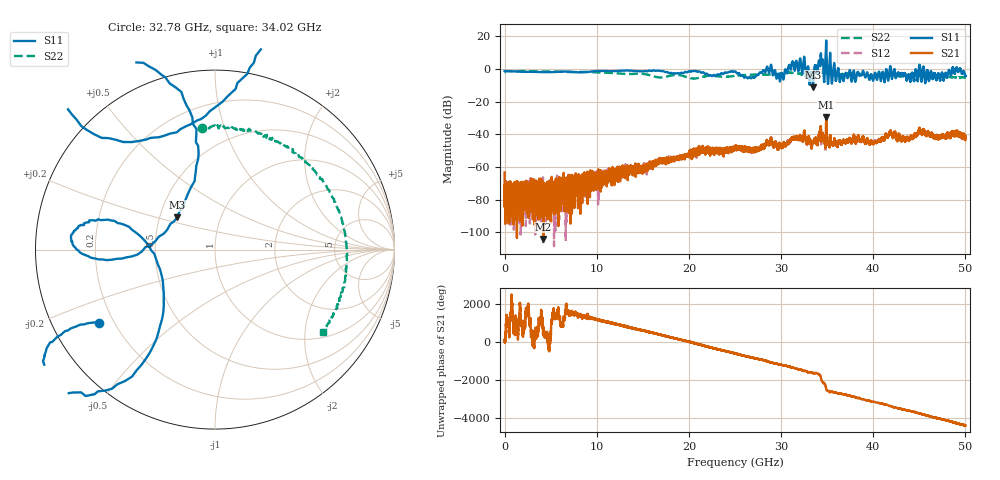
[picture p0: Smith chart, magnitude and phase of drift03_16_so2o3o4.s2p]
!Created with skrf (http://scikit-rf.org).
# Hz S RI R 50.0
!freq ReS11 ImS11 ReS21 ImS21 ReS12 ImS12 ReS22 ImS22
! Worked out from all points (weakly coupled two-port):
!   10001 points, 300 kHz to 50 GHz, reference 50 ohm
!   highest |S21| = -29.74 dB at 34.9 GHz (marker M1); lowest = -104.0 dB at 4.205 GHz (marker M2)
!   lowest |S11| = -11.2 dB at 33.47 GHz (marker M3), VSWR 1.76, Z = 30.9 + j12 ohm
!   |S11| at or under -10 dB: 33.44603 GHz to 33.48605 GHz (40.02 MHz wide, 0.12 % of centre)
!   |S22| runs from -5.9 to -1.3 dB; largest |S21 - S12| = 0.0063
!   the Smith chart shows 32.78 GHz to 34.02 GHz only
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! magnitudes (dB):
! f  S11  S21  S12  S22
! 300 kHz  -1.3  -63.4  -84.1  -2.1
! 390.3 MHz  -1.4  -84.2  -72.4  -1.4
! 4.205 GHz  -2.0  -104.0  -87.6  -1.6
! 8.335 GHz  -2.2  -65.7  -69.6  -1.9
! 16.67 GHz  -1.1  -57.6  -56.7  -5.2
! 25 GHz  -1.5  -48.8  -47.9  -4.3
! 26.92 GHz  -4.9  -49.9  -49.5  -3.6
! 28.73 GHz  -2.3  -46.1  -46.3  -3.5
! 30.06 GHz  -2.5  -47.9  -48.0  -2.9
! 31.88 GHz  -1.6  -42.8  -42.0  -2.9
! 33.34 GHz  -2.2  -47.0  -46.7  -2.9
! 33.47 GHz  -11.2  -45.4  -45.7  -2.8
! 34.3 GHz  7.1  -35.2  -35.5  -2.4
! 34.9 GHz  17.4  -29.7  -31.1  -2.4
! 36.58 GHz  -3.4  -46.6  -46.3  -3.6
! 40.18 GHz  -2.5  -44.3  -44.2  -3.7
! 41.67 GHz  -5.7  -40.9  -40.9  -3.7
! 43.84 GHz  -3.6  -43.4  -43.7  -3.9
! 45.2 GHz  -6.0  -39.4  -39.4  -4.5
! 47.06 GHz  -3.0  -42.3  -42.0  -5.1
! 48.83 GHz  -2.7  -40.0  -40.4  -5.1
! 50 GHz  -4.5  -41.7  -42.1  -5.0
